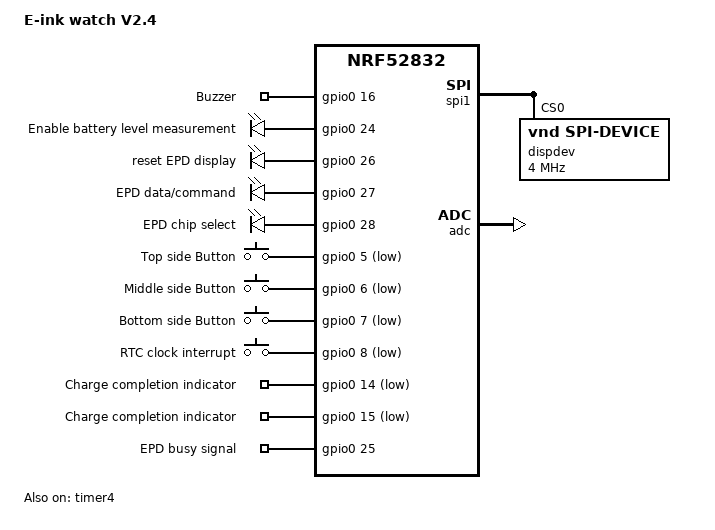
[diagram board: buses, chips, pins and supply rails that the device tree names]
/dts-v1/;

#include <nordic/nrf52832_qfaa.dtsi>
#include "EPD_watch_V2_4-pinctrl.dtsi"
#include <zephyr/dt-bindings/input/input-event-codes.h>

/ {
	model = "E-ink watch V2.4";
	compatible = "EPDWATCH,EPD-watch-V2-4";

	chosen
	{
		zephyr,sram = &sram0;
		zephyr,flash = &flash0;
		zephyr,code-partition = &slot0_partition;
	};

	leds
	{
		compatible = "gpio-leds";

		buzzer: buzzer
		{
			gpios = <&gpio0 16 (GPIO_PUSH_PULL & GPIO_ACTIVE_HIGH)>;
			label = "Buzzer";
		};

		batt_lvl_en: batt_lvl_en
		{
			gpios = <&gpio0 24 (GPIO_PUSH_PULL & GPIO_ACTIVE_HIGH)>;
			label = "Enable battery level measurement";
		};

		disp_rst: disp_rst
		{
			gpios = <&gpio0 26 (GPIO_PUSH_PULL & GPIO_ACTIVE_HIGH)>;
			label = "reset EPD display";
		};

		disp_dc: disp_dc
		{
			gpios = <&gpio0 27 (GPIO_PUSH_PULL & GPIO_ACTIVE_HIGH)>;
			label = "EPD data/command";
		};


		disp_cs: disp_cs
		{
			gpios = <&gpio0 28 (GPIO_PUSH_PULL & GPIO_ACTIVE_HIGH)>;
			label = "EPD chip select";
		};
	};

    buttons
	{
        compatible = "gpio-keys";

        btn_up: btn_up
		{
            gpios = <&gpio0 5 (GPIO_PULL_UP | GPIO_ACTIVE_LOW)>;
            label = "Top side Button";
        };

        btn_mid: btn_mid
		{
            gpios = <&gpio0 6 (GPIO_PULL_UP | GPIO_ACTIVE_LOW)>;
            label = "Middle side Button";
        };

        btn_dwn: btn_dwn
		{
            gpios = <&gpio0 7 (GPIO_PULL_UP | GPIO_ACTIVE_LOW)>;
            label = "Bottom side Button";
        };



        rtc_int: rtc_int
		{
            gpios = <&gpio0 8 (GPIO_PULL_UP | GPIO_ACTIVE_LOW)>;
            label = "RTC clock interrupt";
        };

        chrg_complete: chrg_complete
		{
            gpios = <&gpio0 14 (GPIO_PULL_UP | GPIO_ACTIVE_LOW)>;
            label = "Charge completion indicator";
        };

        chrg_active: chrg_active
		{
            gpios = <&gpio0 15 (GPIO_PULL_UP | GPIO_ACTIVE_LOW)>;
            label = "Charge completion indicator";
        };



        disp_busy: disp_busy
		{
            gpios = <&gpio0 25 (GPIO_ACTIVE_HIGH)>;
            label = "EPD busy signal";
        };
    };
};

&gpiote
{
	status = "okay";
};

&gpio0
{
	status = "okay";
};

&spi1
{
    status = "okay";
    pinctrl-0 = <&spi1_default>;
    pinctrl-1 = <&spi1_sleep>;
    pinctrl-names = "default", "sleep";

    dispdev: dispdev@0
    {
        compatible = "vnd,spi-device";
        reg = <0>;
    	spi-max-frequency = <4000000>;
    };
};

&timer4
{
	status = "okay";
};

&adc
{
	compatible = "nordic,nrf-saadct";
	status = "okay";
	timer-instance = <&timer4>;
	#address-cells = <1>;
	#size-cells = <0>;
};

&flash0
{
	partitions
	{
		#address-cells = <1>;
		#size-cells = <1>;
		ranges;

		boot_partition: partition@0
		{
			compatible = "zephyr,mapped-partition";
			label = "mcuboot";
			reg = <0x0 DT_SIZE_K(48)>;
		};

		slot0_partition: partition@c000
		{
			compatible = "zephyr,mapped-partition";
			label = "image-0";
			reg = <0xc000 DT_SIZE_K(220)>;
		};

		slot1_partition: partition@43000
		{
			compatible = "zephyr,mapped-partition";
			label = "image-1";
			reg = <0x43000 DT_SIZE_K(220)>;
		};

		storage_partition: partition@7a000
		{
			compatible = "zephyr,mapped-partition";
			label = "storage";
			reg = <0x7a000 DT_SIZE_K(24)>;
		};
	};
};

